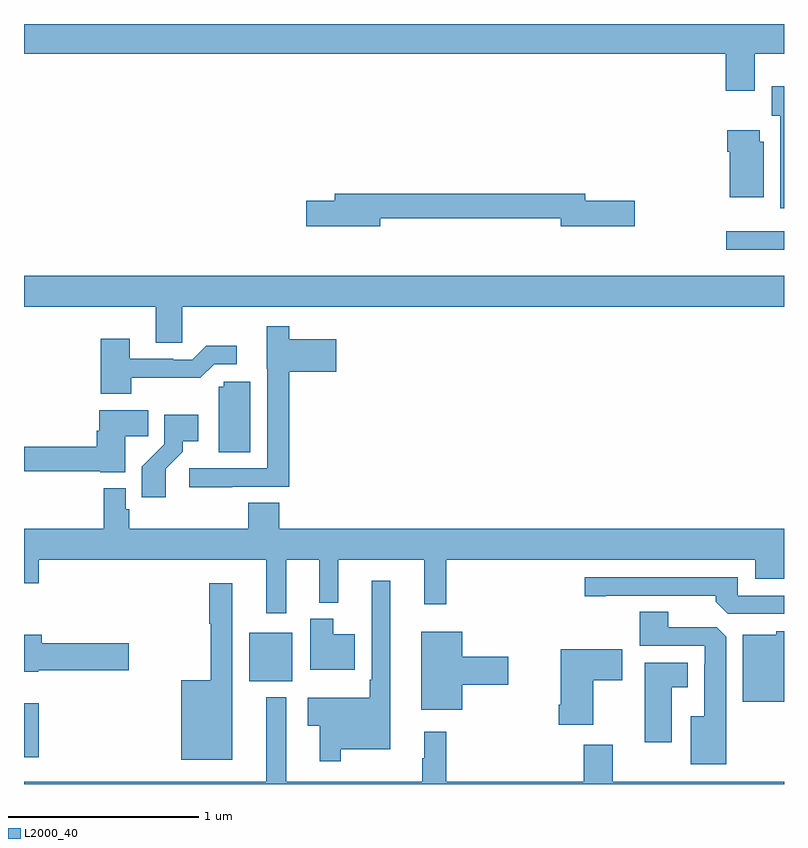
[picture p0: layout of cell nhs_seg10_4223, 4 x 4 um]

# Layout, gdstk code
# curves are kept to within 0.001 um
import gdstk
lib = gdstk.Library(unit=1e-6, precision=1e-09)
def R(c, l, rs):  # rectangles x0, y0, x1, y1
    for r in rs: c.add(gdstk.rectangle(r[:2], r[2:], *l))
def P(c, l, *ps):  # polygons
    for p in ps: c.add(gdstk.Polygon(p, *l))
L2000_40 = (2000, 40)

nhs_seg10_4223 = lib.new_cell('nhs_seg10_4223')
R(nhs_seg10_4223, L2000_40, [(347,1268.64,347.078,1268.926), (348.185,1269.041,348.412,1269.295), (350.697,1271.312,351,1271.409)])
P(nhs_seg10_4223, L2000_40, [(350.845,1272.344),(351,1272.344),(351,1272.5),(347,1272.5),(347,1272.344),(350.693,1272.344),(350.693,1272.15),(350.845,1272.15)],
  [(351,1272.172),(350.936,1272.172),(350.936,1272.018),(350.981,1272.018),(350.981,1271.529),(351,1271.529)],
  [(350.893,1271.88),(350.872,1271.88),(350.872,1271.941),(350.702,1271.941),(350.702,1271.828),(350.714,1271.828),(350.714,1271.588),(350.893,1271.588)],
  [(348.874,1271.478),(349.826,1271.478),(349.826,1271.435),(350.215,1271.435),(350.215,1271.57),(349.954,1271.57),(349.954,1271.606),(348.635,1271.606),(348.635,1271.57),(348.486,1271.57),(348.486,1271.435),(348.874,1271.435)],
  [(347.832,1271.012),(351,1271.012),(351,1271.176),(347,1271.176),(347,1271.012),(347.693,1271.012),(347.693,1270.822),(347.832,1270.822)],
  [(348.095,1270.065),(348.395,1270.065),(348.395,1270.67),(348.643,1270.67),(348.643,1270.84),(348.395,1270.84),(348.395,1270.909),(348.278,1270.909),(348.278,1270.686),(348.279,1270.686),(348.279,1270.161),(347.871,1270.161),(347.871,1270.063),(348.095,1270.063)],
  [(347.565,1270.638),(347.927,1270.637),(348,1270.71),(348.121,1270.71),(348.121,1270.807),(347.959,1270.807),(347.886,1270.734),(347.786,1270.734),(347.786,1270.737),(347.557,1270.737),(347.557,1270.843),(347.405,1270.843),(347.405,1270.553),(347.565,1270.553)],
  [(348.19,1270.617),(348.051,1270.617),(348.051,1270.59),(348.026,1270.59),(348.026,1270.246),(348.19,1270.246)],
  [(347.533,1270.33),(347.654,1270.33),(347.654,1270.468),(347.396,1270.468),(347.396,1270.358),(347.384,1270.358),(347.384,1270.274),(347,1270.274),(347,1270.146),(347.4,1270.146),(347.4,1270.142),(347.533,1270.142)],
  [(347.746,1270.159),(347.836,1270.249),(347.836,1270.304),(347.917,1270.304),(347.917,1270.444),(347.739,1270.444),(347.739,1270.289),(347.62,1270.17),(347.62,1270.008),(347.746,1270.008)],
  [(348.379,1269.68),(348.554,1269.68),(348.554,1269.455),(348.653,1269.455),(348.653,1269.68),(349.106,1269.68),(349.106,1269.447),(349.223,1269.447),(349.223,1269.68),(350.849,1269.68),(350.849,1269.581),(351,1269.581),(351,1269.844),(348.344,1269.844),(348.344,1269.98),(348.179,1269.98),(348.179,1269.844),(347.555,1269.844),(347.555,1269.945),(347.535,1269.945),(347.535,1270.057),(347.419,1270.057),(347.419,1269.844),(347,1269.844),(347,1269.556),(347.078,1269.556),(347.078,1269.68),(348.275,1269.68),(348.275,1269.399),(348.379,1269.399)],
  [(351,1269.492),(350.757,1269.492),(350.757,1269.588),(349.95,1269.588),(349.95,1269.487),(350.062,1269.487),(350.062,1269.492),(350.642,1269.492),(350.642,1269.458),(350.703,1269.396),(351,1269.396)],
  [(348.667,1268.684),(348.928,1268.684),(348.928,1269.571),(348.831,1269.571),(348.831,1269.049),(348.819,1269.049),(348.819,1268.953),(348.494,1268.953),(348.494,1268.806),(348.557,1268.806),(348.557,1268.619),(348.667,1268.619)],
  [(348.097,1269.556),(347.976,1269.556),(347.976,1269.343),(347.983,1269.343),(347.983,1269.046),(347.828,1269.046),(347.828,1268.627),(348.097,1268.627)],
  [(350.695,1269.275),(350.646,1269.324),(350.392,1269.324),(350.392,1269.407),(350.24,1269.407),(350.24,1269.228),(350.583,1269.228),(350.583,1269.131),(350.579,1269.131),(350.579,1268.857),(350.51,1268.857),(350.51,1268.603),(350.695,1268.603)],
  [(348.742,1269.289),(348.628,1269.289),(348.628,1269.37),(348.506,1269.37),(348.506,1269.101),(348.742,1269.101)],
  [(351,1269.304),(350.958,1269.304),(350.958,1269.286),(350.783,1269.286),(350.783,1268.933),(351,1268.933)],
  [(349.306,1269.023),(349.549,1269.023),(349.549,1269.17),(349.306,1269.17),(349.306,1269.301),(349.091,1269.301),(349.091,1268.891),(349.306,1268.891)],
  [(347.076,1269.098),(347.551,1269.098),(347.551,1269.24),(347.093,1269.24),(347.093,1269.286),(347,1269.286),(347,1269.092),(347.076,1269.092)],
  [(349.996,1269.046),(350.149,1269.046),(350.149,1269.208),(349.826,1269.208),(349.826,1268.917),(349.814,1268.917),(349.814,1268.813),(349.996,1268.813)],
  [(350.41,1269.008),(350.494,1269.008),(350.494,1269.139),(350.267,1269.139),(350.267,1268.721),(350.41,1268.721)],
  [(351,1268.512),(350.098,1268.512),(350.098,1268.707),(349.946,1268.707),(349.946,1268.512),(349.223,1268.512),(349.223,1268.776),(349.106,1268.776),(349.106,1268.636),(349.095,1268.636),(349.095,1268.512),(348.379,1268.512),(348.379,1268.956),(348.275,1268.956),(348.275,1268.512),(347,1268.512),(347,1268.5),(351,1268.5)])

lib.write_gds('nhs_seg10_4223.gds')
